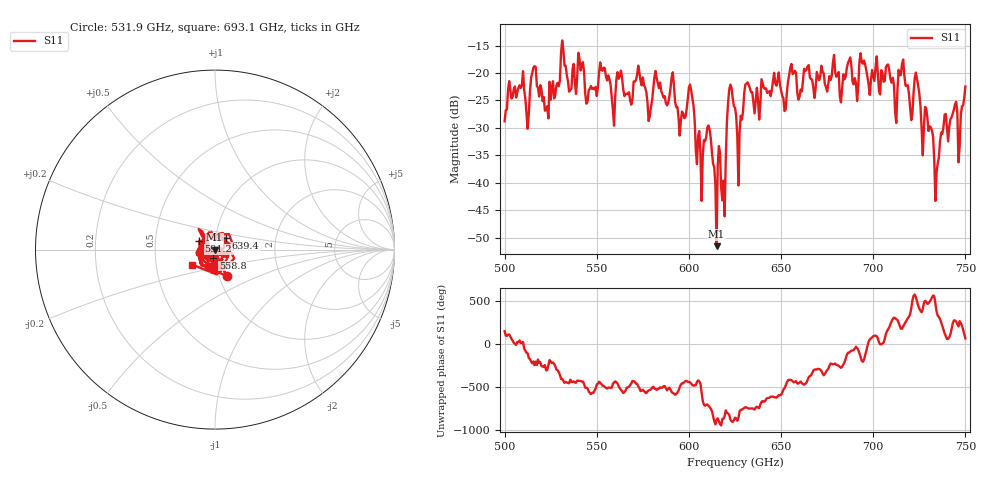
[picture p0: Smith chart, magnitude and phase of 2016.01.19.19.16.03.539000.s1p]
!Created with skrf (http://scikit-rf.org).
# GHz S RI R 50.0
!freq ReS11 ImS11
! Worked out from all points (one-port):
!   401 points, 500 GHz to 750 GHz, reference 50 ohm
!   lowest |S11| = -51.6 dB at 615 GHz (marker M1), VSWR 1.01, Z = 49.8 - j0.0842 ohm
!   |S11| at or under -10 dB: start of sweep to end of sweep
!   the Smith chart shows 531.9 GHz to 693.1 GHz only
!   S11 on the Smith chart (normalised r, x): 531.9 GHz: 1.09, -0.33; 558.8 GHz: 0.98, -0.09; 591.2 GHz: 0.83, +0.08; 639.4 GHz: 1.12, +0.14; 693.1 GHz: 0.77, -0.13
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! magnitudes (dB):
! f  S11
! 500 GHz  -28.8
! 512.5 GHz  -30.2
! 515.6 GHz  -19.0
! 522.5 GHz  -26.8
! 531.2 GHz  -14.1
! 531.9 GHz  -15.8
! 558.8 GHz  -26.7
! 562.5 GHz  -20.6
! 578.8 GHz  -27.9
! 591.2 GHz  -19.9
! 593.8 GHz  -26.2
! 601.2 GHz  -23.2
! 605.6 GHz  -30.6
! 610.6 GHz  -29.6
! 615 GHz  -51.6
! 618.8 GHz  -39.6
! 622.5 GHz  -22.1
! 625 GHz  -26.3
! 627.5 GHz  -30.6
! 631.2 GHz  -21.9
! 639.4 GHz  -21.1
! 656.2 GHz  -20.2
! 687.5 GHz  -17.2
! 693.1 GHz  -16.4
! 718.8 GHz  -22.2
! 723.8 GHz  -21.1
! 734.4 GHz  -38.0
! 750 GHz  -22.5
